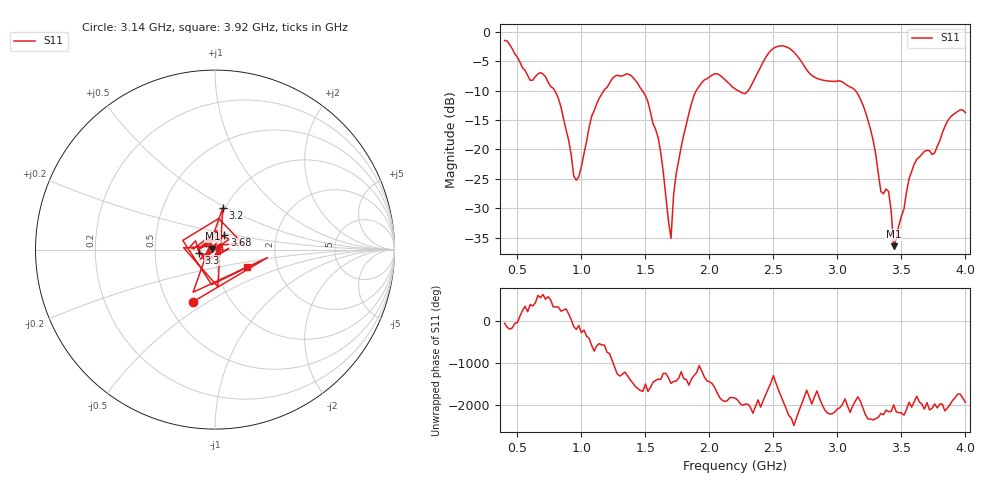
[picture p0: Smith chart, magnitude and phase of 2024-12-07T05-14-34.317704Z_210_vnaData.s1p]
!Created with skrf (http://scikit-rf.org).
# Hz S RI R 50.0
!freq ReS11 ImS11
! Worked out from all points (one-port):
!   181 points, 400 MHz to 4 GHz, reference 50 ohm
!   lowest |S11| = -36.4 dB at 3.44 GHz (marker M1), VSWR 1.03, Z = 48.6 + j0.547 ohm
!   |S11| at or under -10 dB: 790.9 MHz to 1.175 GHz (384.2 MHz wide, 39.1 % of centre); 1.476 GHz to 1.897 GHz (421.6 MHz wide, 25 % of centre); 3.141 GHz to end of sweep (the widest 3 of 4)
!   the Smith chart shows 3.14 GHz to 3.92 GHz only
!   S11 on the Smith chart (normalised r, x): 3.14 GHz: 0.67, -0.43; 3.2 GHz: 0.97, +0.48; 3.3 GHz: 0.84, -0.03; 3.68 GHz: 1.10, +0.18; 3.92 GHz: 1.40, -0.29
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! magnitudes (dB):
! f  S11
! 400 MHz  -1.5
! 600 MHz  -8.3
! 720 MHz  -7.6
! 860 MHz  -14.8
! 960 MHz  -25.2
! 1.12 GHz  -12.2
! 1.3 GHz  -7.5
! 1.52 GHz  -11.9
! 1.62 GHz  -20.6
! 1.7 GHz  -35.1
! 1.72 GHz  -27.8
! 1.76 GHz  -21.9
! 1.94 GHz  -8.7
! 2.2 GHz  -9.7
! 2.3 GHz  -10.1
! 2.5 GHz  -2.8
! 2.66 GHz  -3.5
! 3.1 GHz  -9.4
! 3.14 GHz  -10.0
! 3.2 GHz  -12.5
! 3.3 GHz  -20.9
! 3.34 GHz  -27.1
! 3.4 GHz  -27.1
! 3.44 GHz  -36.4
! 3.56 GHz  -25.0
! 3.68 GHz  -20.3
! 3.92 GHz  -13.8
! 4 GHz  -13.7
